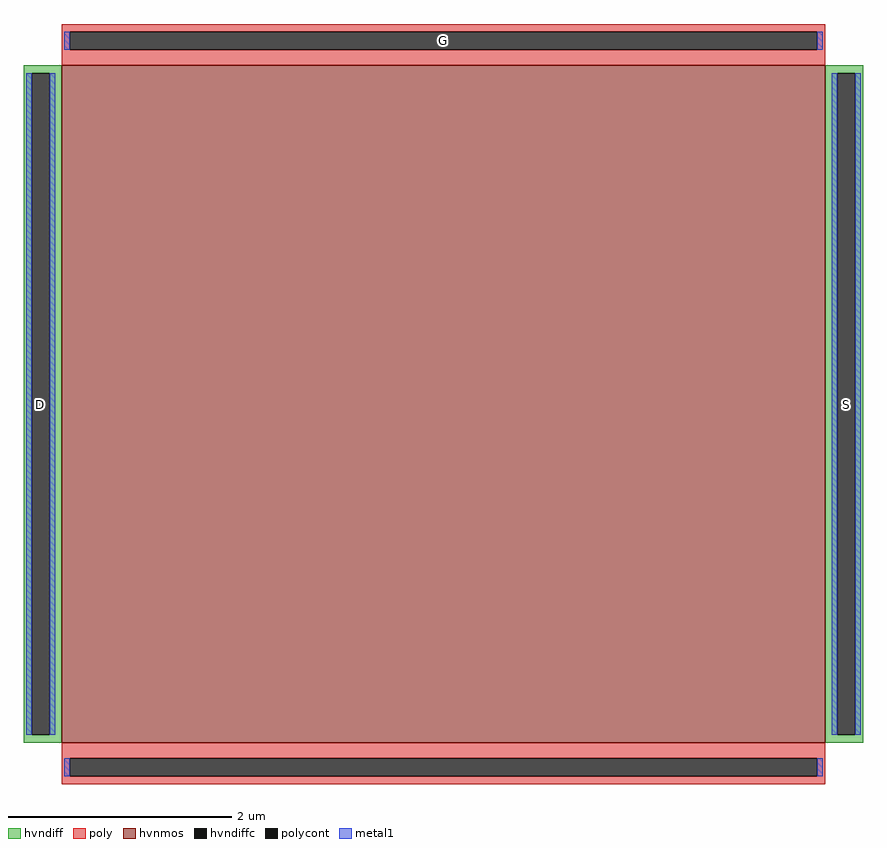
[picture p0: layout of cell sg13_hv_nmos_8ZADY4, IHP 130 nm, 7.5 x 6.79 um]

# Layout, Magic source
magic
tech ihp-sg13cmos5l
magscale 1 2
<< hvnmos >>
rect -682 -605 682 605
<< hvndiff >>
rect -750 591 -682 605
rect -750 -591 -736 591
rect -704 -591 -682 591
rect -750 -605 -682 -591
rect 682 591 750 605
rect 682 -591 704 591
rect 736 -591 750 591
rect 682 -605 750 -591
<< hvndiffc >>
rect -736 -591 -704 591
rect 704 -591 736 591
<< poly >>
rect -682 665 682 679
rect -682 633 -668 665
rect 668 633 682 665
rect -682 605 682 633
rect -682 -633 682 -605
rect -682 -665 -668 -633
rect 668 -665 682 -633
rect -682 -679 682 -665
<< polycont >>
rect -668 633 668 665
rect -668 -665 668 -633
<< metal1 >>
rect -678 633 -668 665
rect 668 633 678 665
rect -746 -591 -736 591
rect -704 -591 -694 591
rect 694 -591 704 591
rect 736 -591 746 591
rect -678 -665 -668 -633
rect 668 -665 678 -633
<< labels >>
rlabel hvndiffc -720 0 -720 0 0 D
port 46 nsew
rlabel hvndiffc 720 0 720 0 0 S
port 47 nsew
rlabel polycont 0 649 0 649 0 G
port 48 nsew
<< properties >>
string gencell sg13_hv_nmos
string library sg13cmos5l
string parameters w 6.05 l 6.815 m 1 ng 1 diffcov 100 polycov 100 guard 0 glc 1 grc 1 gtc 1 gbc 1 tbcov 100 rlcov 100 topc 1 botc 1 poverlap 0 doverlap 1 lmin 0.45 wmin 0.15 class mosfet compatible {sg13_lv_nmos sg13_hv_nmos} full_metal 1 conn_gates 0 gate_ring 0 doports 1 viasrc 0 viadrn 0 viagate 0 ccols 1 viagb 0 viagr 0 viagl 0 viagt 0
<< end >>
